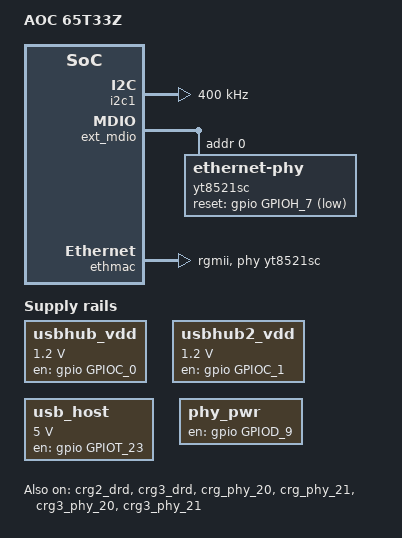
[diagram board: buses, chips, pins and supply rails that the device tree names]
#include "t7_a311d2_an400_drm_hdmitx_only_debian.dts"
#include "coreelec_t7_common.dtsi"

/ {
	model = "AOC 65T33Z";
	coreelec-dt-id = "t7_a311d2_aoc_65t33z_4g";
	amlogic-dt-id = "t7_a311d2_an400";

	memory@00000000 {
		device_type = "memory";
		linux,usable-memory = <0x00000000 0x00000000 0x00000000 0xe0000000
													0x00000001 0x00000000 0x00000000 0x20000000>;
	};

	auge_sound {
		avout_mute-gpios = <&gpio GPIOY_2 GPIO_ACTIVE_HIGH>; /* APA2172 /SDN */
	};

	/* USB5744 (UU21) VDD12 */
	regulator-usbhub-vdd {
		compatible = "regulator-fixed";
		regulator-name = "usbhub_vdd";
		regulator-min-microvolt = <1200000>;
		regulator-max-microvolt = <1200000>;
		gpio = <&gpio GPIOC_0 GPIO_ACTIVE_HIGH>;
		enable-active-high;
		regulator-boot-on;
		regulator-always-on;
	};

	/* USB5744 (UU1) VDD12 */
	regulator-usbhub2-vdd {
		compatible = "regulator-fixed";
		regulator-name = "usbhub2_vdd";
		regulator-min-microvolt = <1200000>;
		regulator-max-microvolt = <1200000>;
		gpio = <&gpio GPIOC_1 GPIO_ACTIVE_HIGH>;
		enable-active-high;
		regulator-boot-on;
		regulator-always-on;
	};

	/* Android USB Type-A 5V */
	regulator-usb-host {
		compatible = "regulator-fixed";
		regulator-name = "usb_host";
		regulator-min-microvolt = <5000000>;
		regulator-max-microvolt = <5000000>;
		gpio = <&gpio GPIOT_23 GPIO_ACTIVE_HIGH>;
		enable-active-high;
		regulator-boot-on;
		regulator-always-on;
	};

	regulator-phy-pwr {
		compatible = "regulator-fixed";
		regulator-name = "phy_pwr";
		gpio = <&gpio GPIOD_9 GPIO_ACTIVE_HIGH>;
		enable-active-high;
		regulator-boot-on;
		regulator-always-on;
	};

	/* from t7_a311d2_an400_drm_hdmitx_only_debian */
	/delete-node/ adc_keypad;
	/delete-node/ gpio_keypad;
	/* from coreelec_t7_common */
	/delete-node/ emmc_pwrseq;
	/delete-node/ vcc5v_reg;
	/delete-node/ sd_3v3;
	/delete-node/ vddio_c;
};

&aml_wifi{
	status = "disabled";
};

&aml_bt {
	status = "disabled";
};

/* Micro USB */
&crg_udc_2 {
	status = "disabled";
};

/* USB Hub */
&crg_udc_3 {
	status = "disabled";
};

/* USB Hub */
&crg20_otg {
	status = "disabled";
	controller-type = <2>;
};

/* Micro USB */
&crg21_otg {
	status = "disabled";
	controller-type = <2>;
};

/* Micro USB */
&crg2_drd {
	/* compatible = "amlogic, crg-drd"; */
	compatible = "amlogic, crg-host-drd";
	status = "okay";
};

/* USB Hub */
&crg3_drd {
	/* compatible = "amlogic, crg-drd"; */
	compatible = "amlogic, crg-host-drd";
	status = "okay";
};

&crg_phy_20 {
	status = "okay";
	portnum = <1>;
	/* from t7_a311d2_an400_drm_hdmitx_only_debian */
	/delete-property/ gpio-vbus-power;
	/delete-property/ gpios;
};

&crg_phy_21 {
	status = "okay";
	portnum = <1>;
	gpio-vbus-power = "GPIOY_16";
	gpios = <&gpio GPIOY_16 GPIO_ACTIVE_HIGH>;
};

&crg3_phy_20 {
	status = "okay";
	portnum = <1>;
};

/*
 * On the A311D2, this Corigine USB module only exposes USB 2.0,
 * which can be used for firmware download during BootROM.
 * Therefore, the port number (portnum) for USB 3.0 is 0.
 */
&crg3_phy_21 {
	status = "okay";
	portnum = <0>;
};

&i2c1 {
	status = "okay";
	pinctrl-names = "default";
	pinctrl-0 = <&i2c1_pins1>;
	clock-frequency = <400000>;
};

&i2c2 {
	status = "disabled";
};

&i2c5 {
	status = "disabled";
};

&ext_mdio {
	yt8521sc: ethernet-phy@0 {
		reg = <0>;
		max-speed = <1000>;
		reset-assert-us = <20000>;
		reset-deassert-us = <50000>;
		reset-gpios = <&gpio GPIOH_7 (GPIO_ACTIVE_LOW | GPIO_OPEN_DRAIN)>;
	};
};

&ethmac {
	pinctrl-0 = <&eth_pins>, <&eth_rgmii_pins>;
	pinctrl-names = "default";
	status = "okay";
	phy-mode = "rgmii";
	phy-handle = <&yt8521sc>;
	internal_phy = <2>;
	mc_val = <0x1621>;
	cali_val = <0xa0000>;
	amlogic,tx-delay-ns = <2>;
};

&sd_emmc_a {
	status = "disabled";
};

&sd_emmc_b {
	status = "disabled";
};

&sd_emmc_c {
	/* from coreelec_t7_common */
	/delete-property/ mmc-pwrseq;
};

&saradc {
	status = "disabled";
};

&pwm_ab {
	status = "disabled";
};

&pwm_ef {
	status = "disabled";
};

&uart_C {
	status = "disabled";
};

/*
 * Increasing the codec_mm_cma size prevents kernel crashes during hardware video decoding.
 * The crash was observed under CoreELEC NO, with the kernel log showing a DMC error.
 */
&codec_mm_cma {
	size = <0x0 0x25800000>;
};
